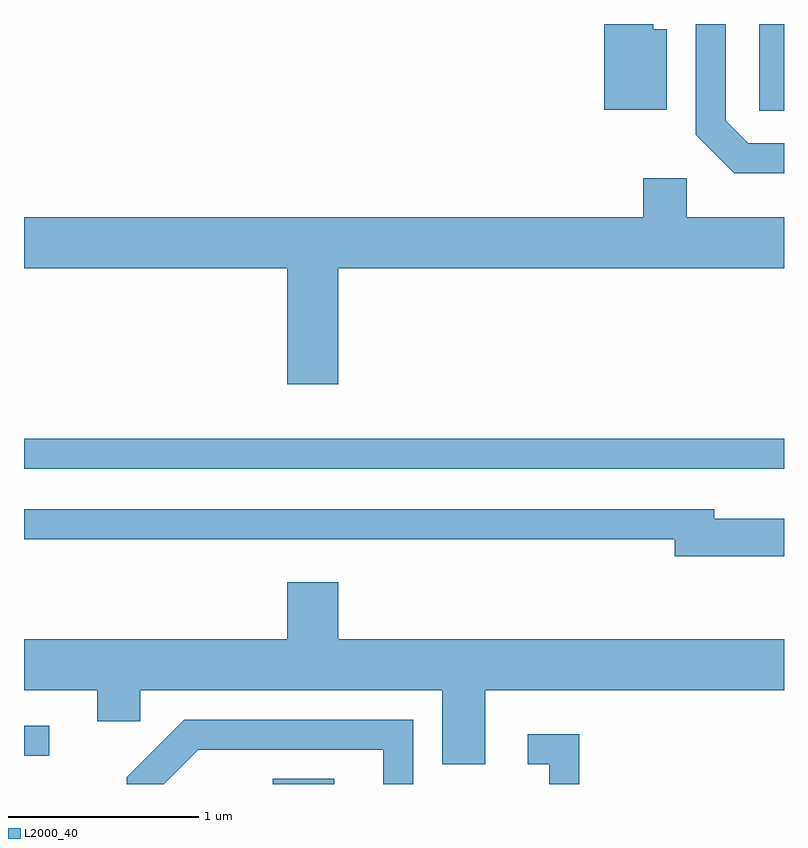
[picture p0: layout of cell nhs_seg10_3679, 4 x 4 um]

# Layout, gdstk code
import gdstk
lib = gdstk.Library(unit=1e-6, precision=1e-09)
def R(c, l, rs):  # rectangles x0, y0, x1, y1
    for r in rs: c.add(gdstk.rectangle(r[:2], r[2:], *l))
def P(c, l, *ps):  # polygons
    for p in ps: c.add(gdstk.Polygon(p, *l))
L2000_40 = (2000, 40)

nhs_seg10_3679 = lib.new_cell('nhs_seg10_3679')
R(nhs_seg10_3679, L2000_40, [(294.921,2124.522,295.243,2124.549), (293.611,2124.671,293.743,2124.829), (293.611,2126.181,297.611,2126.339), (297.481,2128.066,297.611,2128.522)])
P(nhs_seg10_3679, L2000_40, [(297.611,2127.894),(297.422,2127.894),(297.304,2128.012),(297.304,2128.522),(297.146,2128.522),(297.146,2127.939),(297.349,2127.736),(297.611,2127.736)],
  [(296.994,2128.494),(296.924,2128.494),(296.924,2128.522),(296.666,2128.522),(296.666,2128.071),(296.994,2128.071)],
  [(295.264,2127.236),(297.611,2127.236),(297.611,2127.504),(297.099,2127.504),(297.099,2127.709),(296.871,2127.709),(296.871,2127.504),(293.611,2127.504),(293.611,2127.236),(294.996,2127.236),(294.996,2126.626),(295.264,2126.626)],
  [(297.611,2125.919),(297.244,2125.919),(297.244,2125.969),(293.611,2125.969),(293.611,2125.811),(297.036,2125.811),(297.036,2125.721),(297.611,2125.721)],
  [(296.039,2125.016),(297.611,2125.016),(297.611,2125.284),(295.264,2125.284),(295.264,2125.584),(294.996,2125.584),(294.996,2125.284),(293.611,2125.284),(293.611,2125.016),(293.996,2125.016),(293.996,2124.851),(294.224,2124.851),(294.224,2125.016),(295.811,2125.016),(295.811,2124.626),(296.039,2124.626)],
  [(294.527,2124.701),(295.501,2124.701),(295.501,2124.522),(295.659,2124.522),(295.659,2124.859),(294.454,2124.859),(294.151,2124.557),(294.151,2124.522),(294.347,2124.522)],
  [(296.534,2124.784),(296.263,2124.784),(296.263,2124.626),(296.376,2124.626),(296.376,2124.522),(296.534,2124.522)])

lib.write_gds('nhs_seg10_3679.gds')
